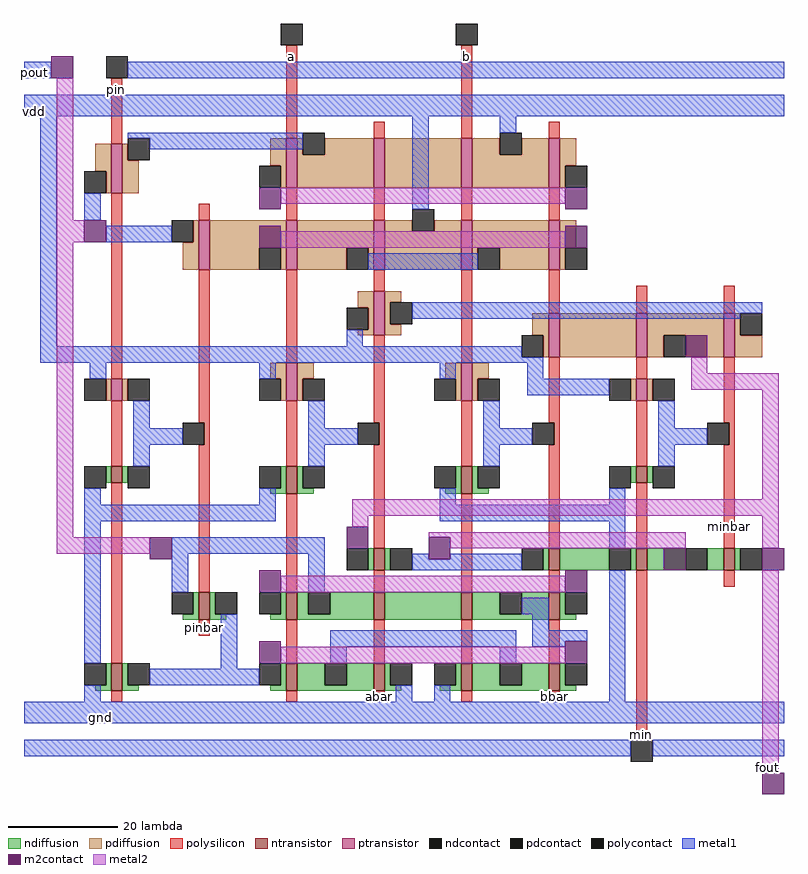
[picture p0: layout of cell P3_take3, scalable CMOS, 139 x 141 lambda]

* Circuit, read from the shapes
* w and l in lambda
.subckt P3_take3 a abar b bbar fout gnd min minbar pin pinbar pout vdd
M1 n1 pin gnd VSUBS nfet w=5 l=2
M2 pinbar pin gnd VSUBS nfet w=3 l=2
M3 n1 pinbar pout VSUBS nfet w=5 l=2
M4 n2 a n1 VSUBS nfet w=5 l=2
M5 pout a n3 VSUBS nfet w=5 l=2
M6 abar a gnd VSUBS nfet w=5 l=2
M7 gnd abar n2 VSUBS nfet w=5 l=2
M8 n4 abar pout VSUBS nfet w=5 l=2
M9 n5 abar fout VSUBS nfet w=4 l=2
M10 n2 b gnd VSUBS nfet w=5 l=2
M11 n1 b n4 VSUBS nfet w=5 l=2
M12 bbar b gnd VSUBS nfet w=5 l=2
M13 n1 bbar n2 VSUBS nfet w=5 l=2
M14 n3 bbar n1 VSUBS nfet w=5 l=2
M15 gnd bbar n5 VSUBS nfet w=4 l=2
M16 n5 min gnd VSUBS nfet w=4 l=2
M17 minbar min gnd VSUBS nfet w=3 l=2
M18 fout minbar n5 VSUBS nfet w=4 l=2
M19 pinbar pin vdd NWELL pfet w=4 l=2
M20 n6 pin pout NWELL pfet w=9 l=2
M21 n7 pinbar pout NWELL pfet w=9 l=2
M22 abar a vdd NWELL pfet w=7 l=2
M23 n8 a n7 NWELL pfet w=9 l=2
M24 n6 a n9 NWELL pfet w=9 l=2
M25 n10 abar vdd NWELL pfet w=8 l=2
M26 vdd abar n8 NWELL pfet w=9 l=2
M27 n11 abar n6 NWELL pfet w=9 l=2
M28 bbar b vdd NWELL pfet w=7 l=2
M29 n8 b vdd NWELL pfet w=9 l=2
M30 vdd b n11 NWELL pfet w=9 l=2
M31 n12 bbar vdd NWELL pfet w=8 l=2
M32 n7 bbar n8 NWELL pfet w=9 l=2
M33 n9 bbar vdd NWELL pfet w=9 l=2
M34 minbar min vdd NWELL pfet w=4 l=2
M35 fout min n12 NWELL pfet w=8 l=2
M36 n10 minbar fout NWELL pfet w=8 l=2
.ends

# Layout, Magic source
magic
tech scmos
<< ntransistor >>
rect 0 47 2 50
rect 32 45 34 50
rect 64 45 66 50
rect 48 31 50 35
rect 96 47 98 50
rect 80 31 82 35
rect 96 31 98 35
rect 112 31 114 35
rect 16 22 18 27
rect 32 22 34 27
rect 48 22 50 27
rect 64 22 66 27
rect 80 22 82 27
rect 0 9 2 14
rect 32 9 34 14
rect 48 9 50 14
rect 64 9 66 14
rect 80 9 82 14
<< ptransistor >>
rect 0 100 2 109
rect 32 101 34 110
rect 48 101 50 110
rect 64 101 66 110
rect 80 101 82 110
rect 16 86 18 95
rect 32 86 34 95
rect 48 86 50 95
rect 64 86 66 95
rect 80 86 82 95
rect 0 62 2 66
rect 48 74 50 82
rect 32 62 34 69
rect 80 70 82 78
rect 96 70 98 78
rect 112 70 114 78
rect 64 62 66 69
rect 96 62 98 66
<< ndiffusion >>
rect -1 47 0 50
rect 2 47 3 50
rect 31 46 32 50
rect 29 45 32 46
rect 34 46 35 50
rect 34 45 37 46
rect 63 46 64 50
rect 61 45 64 46
rect 66 46 67 50
rect 66 45 69 46
rect 47 31 48 35
rect 50 31 51 35
rect 95 47 96 50
rect 98 47 99 50
rect 79 31 80 35
rect 82 31 91 35
rect 95 31 96 35
rect 98 31 105 35
rect 109 31 112 35
rect 114 31 115 35
rect 15 23 16 27
rect 13 22 16 23
rect 18 23 19 27
rect 31 23 32 27
rect 18 22 21 23
rect 29 22 32 23
rect 34 23 36 27
rect 40 23 48 27
rect 34 22 48 23
rect 50 22 64 27
rect 66 23 71 27
rect 75 23 80 27
rect 66 22 80 23
rect 82 23 83 27
rect 82 22 85 23
rect -1 10 0 14
rect -3 9 0 10
rect 2 10 3 14
rect 31 10 32 14
rect 2 9 5 10
rect 29 9 32 10
rect 34 10 39 14
rect 43 10 48 14
rect 34 9 48 10
rect 50 10 51 14
rect 63 10 64 14
rect 50 9 53 10
rect 60 9 64 10
rect 66 10 71 14
rect 75 10 80 14
rect 66 9 80 10
rect 82 10 83 14
rect 82 9 85 10
<< pdiffusion >>
rect -3 104 0 109
rect -1 100 0 104
rect 2 106 3 109
rect 2 100 5 106
rect 29 105 32 110
rect 31 101 32 105
rect 34 107 35 110
rect 39 107 48 110
rect 34 101 48 107
rect 50 101 64 110
rect 66 107 71 110
rect 75 107 80 110
rect 66 101 80 107
rect 82 105 85 110
rect 82 101 83 105
rect 15 91 16 95
rect 13 86 16 91
rect 18 90 32 95
rect 18 86 27 90
rect 31 86 32 90
rect 34 90 48 95
rect 34 86 43 90
rect 47 86 48 90
rect 50 93 55 95
rect 59 93 64 95
rect 50 86 64 93
rect 66 90 80 95
rect 66 86 67 90
rect 71 86 80 90
rect 82 90 85 95
rect 82 86 83 90
rect -1 62 0 66
rect 2 62 3 66
rect 45 79 48 82
rect 47 75 48 79
rect 45 74 48 75
rect 50 80 53 82
rect 50 76 51 80
rect 50 74 53 76
rect 29 66 32 69
rect 31 62 32 66
rect 34 66 37 69
rect 34 62 35 66
rect 77 74 80 78
rect 79 70 80 74
rect 82 70 96 78
rect 98 74 112 78
rect 98 70 101 74
rect 105 70 112 74
rect 114 74 115 78
rect 114 70 119 74
rect 61 66 64 69
rect 63 62 64 66
rect 66 66 69 69
rect 66 62 67 66
rect 95 62 96 66
rect 98 62 99 66
<< ndcontact >>
rect -5 46 -1 50
rect 3 46 7 50
rect 27 46 31 50
rect 35 46 39 50
rect 59 46 63 50
rect 67 46 71 50
rect 43 31 47 35
rect 51 31 55 35
rect 91 46 95 50
rect 99 46 103 50
rect 75 31 79 35
rect 91 31 95 35
rect 105 31 109 35
rect 115 31 119 35
rect 11 23 15 27
rect 19 23 23 27
rect 27 23 31 27
rect 36 23 40 27
rect 71 23 75 27
rect 83 23 87 27
rect -5 10 -1 14
rect 3 10 7 14
rect 27 10 31 14
rect 39 10 43 14
rect 51 10 55 14
rect 59 10 63 14
rect 71 10 75 14
rect 83 10 87 14
<< pdcontact >>
rect -5 100 -1 104
rect 3 106 7 110
rect 27 101 31 105
rect 35 107 39 111
rect 71 107 75 111
rect 83 101 87 105
rect 11 91 15 95
rect 27 86 31 90
rect 43 86 47 90
rect 55 93 59 97
rect 67 86 71 90
rect 83 86 87 90
rect -5 62 -1 66
rect 3 62 7 66
rect 43 75 47 79
rect 51 76 55 80
rect 27 62 31 66
rect 35 62 39 66
rect 75 70 79 74
rect 101 70 105 74
rect 115 74 119 78
rect 59 62 63 66
rect 67 62 71 66
rect 91 62 95 66
rect 99 62 103 66
<< polysilicon >>
rect 0 109 2 121
rect 32 110 34 127
rect 48 110 50 113
rect 64 110 66 127
rect 80 110 82 113
rect 0 66 2 100
rect 16 95 18 98
rect 32 95 34 101
rect 48 95 50 101
rect 64 95 66 101
rect 80 95 82 101
rect 0 50 2 62
rect 16 58 18 86
rect 32 69 34 86
rect 48 82 50 86
rect 17 54 18 58
rect 0 14 2 47
rect 16 27 18 54
rect 32 50 34 62
rect 48 58 50 74
rect 64 69 66 86
rect 80 78 82 86
rect 96 78 98 83
rect 112 78 114 83
rect 49 54 50 58
rect 32 27 34 45
rect 48 35 50 54
rect 64 50 66 62
rect 80 58 82 70
rect 96 66 98 70
rect 81 54 82 58
rect 48 27 50 31
rect 64 27 66 45
rect 80 35 82 54
rect 96 50 98 62
rect 112 58 114 70
rect 113 54 114 58
rect 96 35 98 47
rect 112 35 114 54
rect 80 27 82 31
rect 16 19 18 22
rect 32 14 34 22
rect 48 14 50 22
rect 64 14 66 22
rect 80 14 82 22
rect 0 7 2 9
rect 32 7 34 9
rect 48 7 50 9
rect 64 7 66 9
rect 80 7 82 9
rect 96 0 98 31
rect 112 28 114 31
<< polycontact >>
rect 31 127 35 131
rect 63 127 67 131
rect -1 121 3 125
rect 13 54 17 58
rect 45 54 49 58
rect 77 54 81 58
rect 109 54 113 58
rect 95 -4 99 0
<< metal1 >>
rect -16 121 -11 124
rect 3 121 123 124
rect -16 114 123 118
rect -13 72 -10 114
rect 3 110 35 111
rect 7 108 35 110
rect -5 95 -2 100
rect 55 97 58 114
rect 71 111 74 114
rect -1 91 11 94
rect 47 86 67 89
rect 55 78 119 80
rect 55 77 115 78
rect 43 72 46 75
rect -13 70 75 72
rect -13 69 79 70
rect -4 66 -1 69
rect 27 66 30 69
rect 60 66 63 69
rect 76 66 79 69
rect 76 63 91 66
rect 4 57 7 62
rect 4 54 13 57
rect 36 57 39 62
rect 36 54 45 57
rect 68 57 71 62
rect 68 54 77 57
rect 100 57 103 62
rect 100 54 109 57
rect 4 50 7 54
rect 36 50 39 54
rect 68 50 71 54
rect 100 50 103 54
rect -5 43 -2 46
rect 27 43 30 46
rect -5 40 30 43
rect 60 43 63 46
rect 91 43 94 46
rect 60 40 94 43
rect -5 14 -2 40
rect 11 34 39 37
rect 11 27 14 34
rect 36 27 39 34
rect 55 33 58 34
rect 91 35 94 40
rect 62 33 75 34
rect 55 31 75 33
rect 75 23 80 26
rect 20 13 23 23
rect 77 20 80 23
rect 40 17 74 20
rect 77 18 87 20
rect 77 17 83 18
rect 40 14 43 17
rect 71 14 74 17
rect 7 10 27 13
rect -5 7 -2 10
rect 52 7 55 10
rect 59 7 62 10
rect 91 7 94 31
rect -16 3 123 7
rect -16 -3 95 0
rect 99 -3 123 0
<< m2contact >>
rect -11 121 -7 125
rect 27 97 31 101
rect 83 97 87 101
rect -5 91 -1 95
rect 27 90 31 94
rect 83 90 87 94
rect 105 70 109 74
rect 7 33 11 37
rect 27 27 31 31
rect 43 35 47 39
rect 58 33 62 37
rect 101 31 105 35
rect 119 31 123 35
rect 83 27 87 31
rect 27 14 31 18
rect 83 14 87 18
rect 119 -10 123 -6
<< metal2 >>
rect -10 95 -7 121
rect 31 98 83 101
rect -10 91 -5 95
rect -10 37 -7 91
rect 31 90 83 93
rect 106 67 109 70
rect 106 64 122 67
rect 119 44 122 64
rect 44 41 122 44
rect 44 39 47 41
rect -10 34 7 37
rect 58 37 105 38
rect 62 35 105 37
rect 119 35 122 41
rect 31 27 83 30
rect 31 14 83 17
rect 119 -6 122 31
<< labels >>
rlabel metal1 -3 3 -1 5 1 gnd
rlabel metal2 119 -6 121 -4 1 fout
rlabel polysilicon 48 7 50 9 1 abar
rlabel metal1 -15 121 -13 123 3 pout
rlabel polysilicon 0 118 2 120 1 pin
rlabel polysilicon 32 124 34 126 1 a
rlabel polysilicon 96 0 98 2 1 min
rlabel polysilicon 112 38 114 40 1 minbar
rlabel polysilicon 64 124 66 126 1 b
rlabel metal1 -15 114 -13 116 3 vdd
rlabel polysilicon 16 19 18 22 1 pinbar
rlabel polysilicon 80 7 82 9 1 bbar
<< end >>
